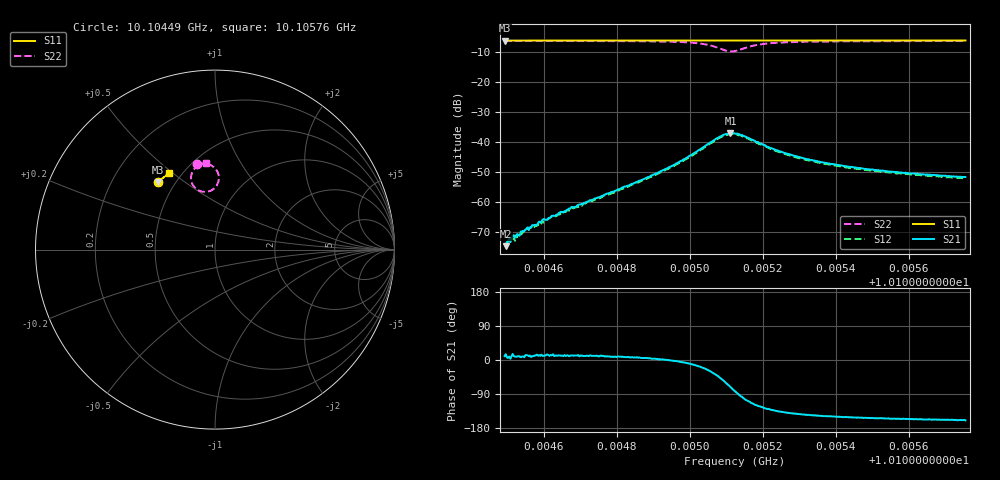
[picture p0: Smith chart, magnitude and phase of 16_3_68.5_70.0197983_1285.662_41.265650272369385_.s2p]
#  HZ  S  RI  R  50.00
! Rohde & Schwarz Vector Network Analyzer
! Rohde-Schwarz,ZNB20-2Port,1311601062101988,3.16
! Created: UTC 3/20/2024, 4:49:14 PM
! freq[Hz]  re:S11  im:S11  re:S21  im:S21  re:S12  im:S12  re:S22  im:S22
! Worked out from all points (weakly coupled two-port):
!   401 points, 10.10449 GHz to 10.10576 GHz, reference 50 ohm
!   highest |S21| = -36.94 dB at 10.10511 GHz (marker M1); lowest = -74.6 dB at 10.1045 GHz (marker M2)
!   lowest |S11| = -6.1 dB at 10.10449 GHz (marker M3), VSWR 2.94, Z = 20.2 + j20.1 ohm
!   |S11| at or under -10 dB: nowhere
!   |S22| runs from -9.8 to -6.3 dB; largest |S21 - S12| = 0.0015
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1.0104493e10  -0.3171 0.377  0.000198 3.61e-05  0.000195 4.28e-05  -0.0982 0.4751
1.0104496e10  -0.3169 0.3773  0.000181 4.94e-05  0.0002 5.25e-05  -0.0979 0.4752
1.0104512e10  -0.3161 0.3779  0.000252 4.27e-05  0.000231 8.66e-05  -0.0964 0.4755
1.0104515e10  -0.316 0.3781  0.000259 7.38e-05  0.000238 6.42e-05  -0.0961 0.4755
1.0104528e10  -0.3154 0.3786  0.000294 4.58e-05  0.000261 5.38e-05  -0.095 0.4757
1.010455e10  -0.3145 0.3795  0.000345 7.64e-05  0.000352 0.00012  -0.093 0.4761
1.0104578e10  -0.3132 0.3806  0.000415 8.72e-05  0.000396 0.000134  -0.0904 0.4766
1.0104594e10  -0.3122 0.3812  0.00047 0.000117  0.000428 0.000123  -0.0887 0.477
1.0104705e10  -0.3072 0.3857  0.000932 0.000189  0.000846 0.000241  -0.0764 0.4785
1.0104916e10  -0.2973 0.3941  0.00318 0.000113  0.00302 0.000394  -0.0382 0.4758
1.0104982e10  -0.2939 0.3965  0.00509 -0.000551  0.00491 -0.000102  -0.0139 0.4649
1.010503e10  -0.2915 0.3983  0.00734 -0.00237  0.0072 -0.00163  0.0101 0.4401
1.010508e10  -0.2888 0.3997  0.00864 -0.00848  0.00906 -0.00734  0.0155 0.369
1.0105112e10  -0.2876 0.4005  0.00452 -0.0135  0.00554 -0.0124  -0.039 0.3231
1.0105124e10  -0.2872 0.4008  0.00181 -0.0138  0.00311 -0.0132  -0.0699 0.3226
1.0105159e10  -0.286 0.4024  -0.00364 -0.0114  -0.00266 -0.0112  -0.1249 0.363
1.0105203e10  -0.2841 0.4042  -0.00537 -0.00728  -0.00449 -0.00744  -0.1321 0.4142
1.0105266e10  -0.2812 0.4068  -0.00491 -0.00428  -0.00436 -0.00448  -0.1166 0.4477
1.0105336e10  -0.2777 0.4095  -0.00419 -0.00281  -0.00374 -0.00308  -0.1009 0.4627
1.0105434e10  -0.2729 0.413  -0.00345 -0.00192  -0.00312 -0.00214  -0.0848 0.4725
1.0105547e10  -0.2672 0.4171  -0.00295 -0.00139  -0.00272 -0.00159  -0.0708 0.4779
1.0105755e10  -0.2567 0.4242  -0.00247 -0.000937  -0.00227 -0.00112  -0.051 0.4831
